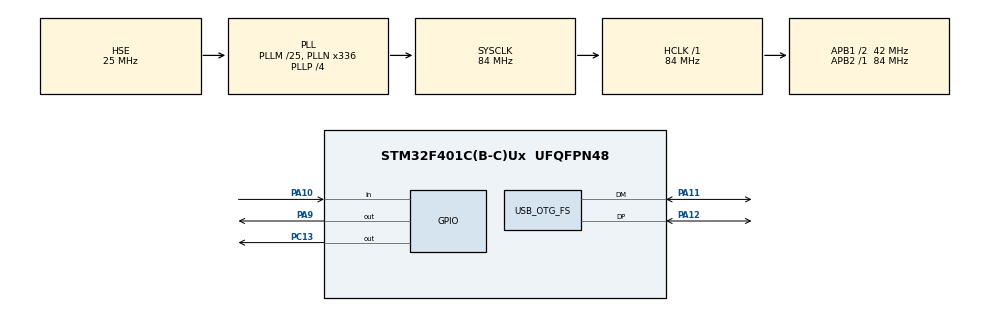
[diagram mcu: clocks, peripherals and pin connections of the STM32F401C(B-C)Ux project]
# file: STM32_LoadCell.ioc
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Mcu.Family=STM32F4
Mcu.Name=STM32F401C(B-C)Ux
Mcu.Package=UFQFPN48
NVIC.OTG_FS_IRQn=true\:0\:0\:false\:false\:true\:false\:true\:true
NVIC.PriorityGroup=NVIC_PRIORITYGROUP_4
PA10.Signal=GPIO_Input
PA11.Mode=Device_Only
PA11.Signal=USB_OTG_FS_DM
PA12.Mode=Device_Only
PA12.Signal=USB_OTG_FS_DP
PA13.Mode=Serial_Wire
PA13.Signal=SYS_JTMS-SWDIO
PA14.Mode=Serial_Wire
PA14.Signal=SYS_JTCK-SWCLK
PA9.Signal=GPIO_Output
PC13-ANTI_TAMP.Signal=GPIO_Output
PH0\ -\ OSC_IN.Mode=HSE-External-Oscillator
PH0\ -\ OSC_IN.Signal=RCC_OSC_IN
PH1\ -\ OSC_OUT.Mode=HSE-External-Oscillator
PH1\ -\ OSC_OUT.Signal=RCC_OSC_OUT
ProjectManager.HeapSize=0x200
ProjectManager.StackSize=0x400
ProjectManager.TargetToolchain=STM32CubeIDE
RCC.48MHZClocksFreq_Value=48000000
RCC.AHBFreq_Value=84000000
RCC.APB1CLKDivider=RCC_HCLK_DIV2
RCC.APB1Freq_Value=42000000
RCC.APB1TimFreq_Value=84000000
RCC.APB2Freq_Value=84000000
RCC.APB2TimFreq_Value=84000000
RCC.CortexFreq_Value=84000000
RCC.HCLKFreq_Value=84000000
RCC.HSE_VALUE=25000000
RCC.HSI_VALUE=16000000
RCC.LSE_VALUE=32768
RCC.PLLM=25
RCC.PLLN=336
RCC.PLLP=RCC_PLLP_DIV4
RCC.PLLQ=7
RCC.SYSCLKFreq_VALUE=84000000
RCC.SYSCLKSource=RCC_SYSCLKSOURCE_PLLCLK
RCC.VCOOutputFreq_Value=336000000
USB_DEVICE.CLASS_NAME_FS=CDC
USB_DEVICE.VirtualMode=Cdc
USB_DEVICE.VirtualModeFS=Cdc_FS
USB_OTG_FS.VirtualMode=Device_Only
VP_USB_DEVICE_VS_USB_DEVICE_CDC_FS.Mode=CDC_FS
board=custom

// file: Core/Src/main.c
/* USER CODE BEGIN Header */
/**
  ******************************************************************************
  * @file           : main.c
  * @brief          : Main program body
  ******************************************************************************
  * @attention
  *
  * Copyright (c) 2024 STMicroelectronics.
  * All rights reserved.
  *
  * This software is licensed under terms that can be found in the LICENSE file
  * in the root directory of this software component.
  * If no LICENSE file comes with this software, it is provided AS-IS.
  *
  ******************************************************************************
  */
/* USER CODE END Header */
#include "main.h"
#include "usb_device.h"

/* USER CODE BEGIN Includes */
#include "HX711.h"
#include "usbd_cdc_if.h"
#include "string.h"
/* USER CODE END Includes */

/* USER CODE BEGIN PV */
hx711_t scale;
float chA= 0;
float chB = 0;
/* USER CODE END PV */

void SystemClock_Config(void);
static void MX_GPIO_Init(void);
/* USER CODE BEGIN PFP */
void init_weight(hx711_t *hx711);
float measure_weight(hx711_t hx711, hx711_t hx711b);
float measure_channel(hx711_t hx711, uint8_t channel);
void init_calibration(hx711_t *hx711);
/* USER CODE END PFP */

int main(void)
{

  /* MCU Configuration--------------------------------------------------------*/

  /* Reset of all peripherals, Initializes the Flash interface and the Systick. */
  HAL_Init();

  /* Configure the system clock */
  SystemClock_Config();

  /* Initialize all configured peripherals */
  MX_GPIO_Init();
  MX_USB_DEVICE_Init();
  /* USER CODE BEGIN 2 */
  init_calibration(&scale);
  /* USER CODE END 2 */

  /* Infinite loop */
  /* USER CODE BEGIN WHILE */
  while (1)
  {
	chA = measure_channel(scale, CHANNEL_A);
	chB = measure_channel(scale, CHANNEL_B);
    /* USER CODE END WHILE */

  }
}

void SystemClock_Config(void)
{
  RCC_OscInitTypeDef RCC_OscInitStruct = {0};
  RCC_ClkInitTypeDef RCC_ClkInitStruct = {0};

  /** Configure the main internal regulator output voltage
  */
  __HAL_RCC_PWR_CLK_ENABLE();
  __HAL_PWR_VOLTAGESCALING_CONFIG(PWR_REGULATOR_VOLTAGE_SCALE2);

  /** Initializes the RCC Oscillators according to the specified parameters
  * in the RCC_OscInitTypeDef structure.
  */
  RCC_OscInitStruct.OscillatorType = RCC_OSCILLATORTYPE_HSE;
  RCC_OscInitStruct.HSEState = RCC_HSE_ON;
  RCC_OscInitStruct.PLL.PLLState = RCC_PLL_ON;
  RCC_OscInitStruct.PLL.PLLSource = RCC_PLLSOURCE_HSE;
  RCC_OscInitStruct.PLL.PLLM = 25;
  RCC_OscInitStruct.PLL.PLLN = 336;
  RCC_OscInitStruct.PLL.PLLP = RCC_PLLP_DIV4;
  RCC_OscInitStruct.PLL.PLLQ = 7;
  if (HAL_RCC_OscConfig(&RCC_OscInitStruct) != HAL_OK)
  {
    Error_Handler();
  }

  /** Initializes the CPU, AHB and APB buses clocks
  */
  RCC_ClkInitStruct.ClockType = RCC_CLOCKTYPE_HCLK|RCC_CLOCKTYPE_SYSCLK
                              |RCC_CLOCKTYPE_PCLK1|RCC_CLOCKTYPE_PCLK2;
  RCC_ClkInitStruct.SYSCLKSource = RCC_SYSCLKSOURCE_PLLCLK;
  RCC_ClkInitStruct.AHBCLKDivider = RCC_SYSCLK_DIV1;
  RCC_ClkInitStruct.APB1CLKDivider = RCC_HCLK_DIV2;
  RCC_ClkInitStruct.APB2CLKDivider = RCC_HCLK_DIV1;

  if (HAL_RCC_ClockConfig(&RCC_ClkInitStruct, FLASH_LATENCY_2) != HAL_OK)
  {
    Error_Handler();
  }
}

static void MX_GPIO_Init(void)
{
  GPIO_InitTypeDef GPIO_InitStruct = {0};

  /* GPIO Ports Clock Enable */
  __HAL_RCC_GPIOC_CLK_ENABLE();
  __HAL_RCC_GPIOH_CLK_ENABLE();
  __HAL_RCC_GPIOA_CLK_ENABLE();

  /*Configure GPIO pin Output Level */
  HAL_GPIO_WritePin(GPIOC, GPIO_PIN_13, GPIO_PIN_RESET);

  /*Configure GPIO pin Output Level */
  HAL_GPIO_WritePin(GPIOA, GPIO_PIN_9, GPIO_PIN_RESET);

  /*Configure GPIO pin : PC13 */
  GPIO_InitStruct.Pin = GPIO_PIN_13;
  GPIO_InitStruct.Mode = GPIO_MODE_OUTPUT_PP;
  GPIO_InitStruct.Pull = GPIO_NOPULL;
  GPIO_InitStruct.Speed = GPIO_SPEED_FREQ_LOW;
  HAL_GPIO_Init(GPIOC, &GPIO_InitStruct);

  /*Configure GPIO pin : PA9 */
  GPIO_InitStruct.Pin = GPIO_PIN_9;
  GPIO_InitStruct.Mode = GPIO_MODE_OUTPUT_PP;
  GPIO_InitStruct.Pull = GPIO_NOPULL;
  GPIO_InitStruct.Speed = GPIO_SPEED_FREQ_LOW;
  HAL_GPIO_Init(GPIOA, &GPIO_InitStruct);

  /*Configure GPIO pin : PA10 */
  GPIO_InitStruct.Pin = GPIO_PIN_10;
  GPIO_InitStruct.Mode = GPIO_MODE_INPUT;
  GPIO_InitStruct.Pull = GPIO_NOPULL;
  HAL_GPIO_Init(GPIOA, &GPIO_InitStruct);

}

/* USER CODE BEGIN 4 */
void init_weight(hx711_t *hx711){
	char buffer[128] = "";
	strcat(buffer, "HX711 initialization\n\r");
	CDC_Transmit_FS((uint8_t*)buffer, strlen(buffer));

	/* Initialize the hx711 sensors */
	hx711_init(hx711, GPIOC, GPIO_PIN_12, GPIOC, GPIO_PIN_10);

	/* Configure gain for each channel (see datasheet for details) */
	set_gain(hx711, 128, 32);

	/* Set HX711 scaling factor (see README for procedure) */
	set_scale(hx711, 1, 1);

	/* Tare weight */
	tare_all(hx711, 10);
	strcat(buffer, "HX711 module has been initialized\n");
	CDC_Transmit_FS((uint8_t*)buffer, strlen(buffer));
}

void init_calibration(hx711_t *hx711){
	char buffer[100] = "";

	strcat(buffer, "HX711 initialization\n\r");
	CDC_Transmit_FS((uint8_t*)buffer, strlen(buffer));

	/* Initialize the hx711 sensors */
	hx711_init(hx711, GPIOA, GPIO_PIN_9, GPIOA, GPIO_PIN_10);

	/* Configure gain for each channel (see datasheet for details) */
	set_gain(hx711, 128, 32);

	/* Set HX711 scaling factor (see README for procedure) */
	set_scale(hx711, 1, 1);

	/* Tare weight */
	tare_all(hx711, 10);
	strcat(buffer, "HX711 module has been initialized\n");
	CDC_Transmit_FS((uint8_t*)buffer, strlen(buffer));
}

float measure_channel(hx711_t hx711, uint8_t channel){
	char buffer[100];
	float weight = 0;
	// Measure the weight for channel A
	weight = get_weight(&hx711, 10, channel);
	// Weight cannot be negative
//	weight = (weight < 0.00) ? 0 : weight;
//	sprintf(buffer, "Weight : %lf \n",weight);
	snprintf(buffer, 100, "Weight %f \r\n", weight);
	CDC_Transmit_FS((uint8_t*)buffer, strlen(buffer));
	return weight;
}

float measure_weight(hx711_t hx711, hx711_t hx711b){
	long weightA = 0;
	long weightB = 0;

	// Measure the weight for channel A
	weightA = get_weight(&hx711, 10, CHANNEL_A);
	// Weight cannot be negative
	weightA = (weightA < 0) ? 0 : weightA;

	// Measure the weight for channel B
	weightB = get_weight(&hx711, 10, CHANNEL_B);
	// Weight cannot be negative
	weightB = (weightB < 0) ? 0 : weightB;

	return weightA;
}
/* USER CODE END 4 */

void Error_Handler(void)
{
  __disable_irq();
  while (1)
  {
  }
}
